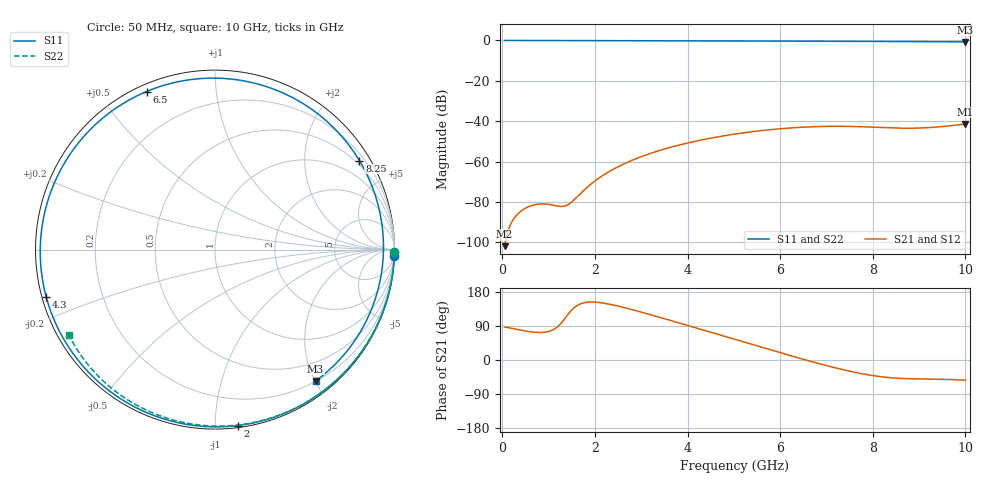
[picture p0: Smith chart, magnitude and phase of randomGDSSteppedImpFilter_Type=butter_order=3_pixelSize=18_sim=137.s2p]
! freq	dB(S11)	phase(S11)	dB(S12)	phase(S12)
!  dB(S21)	phase(S21)	dB(S22)	phase(S22)
!S-par simulation data
#  GHz  S  DB  R 50
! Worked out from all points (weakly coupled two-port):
!   200 points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, 50 MHz to 10 GHz, reference 50 ohm
!   highest |S21| = -41.42 dB at 10 GHz (marker M1); lowest = -102.0 dB at 50 MHz (marker M2)
!   lowest |S11| = -0.7 dB at 10 GHz (marker M3), VSWR 24.66, Z = 10.3 - j100 ohm
!   |S11| at or under -10 dB: nowhere
!   |S22| runs from -0.5 to 0.0 dB; largest |S21 - S12| = 0
!   S11 on the Smith chart (normalised r, x): 50 MHz: 1, -52; 2 GHz: 0.01, -1.14; 4.3 GHz: 0.01, -0.14; 6.5 GHz: 0.03, +0.66; 8.25 GHz: 0.37, +3.49; 10 GHz: 0.21, -2.01
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0.05  -0.01 -2.2  -101.95 86.8  -101.95 86.8  -0.00 -0.9
0.7  -0.03 -30.1  -81.43 73.3  -81.43 73.3  -0.01 -12.1
1.1  -0.06 -46.8  -81.64 79.9  -81.64 79.9  -0.02 -19.0
1.5  -0.08 -63.0  -80.03 132.1  -80.03 132.1  -0.03 -25.8
1.75  -0.09 -72.8  -74.52 150.6  -74.52 150.6  -0.04 -30.0
2  -0.10 -82.5  -69.66 152.7  -69.66 152.7  -0.04 -34.1
2.65  -0.13 -106.7  -60.92 137.8  -60.92 137.8  -0.06 -44.8
3.4  -0.16 -133.2  -54.50 112.6  -54.50 112.6  -0.08 -56.9
4.3  -0.20 -164.2  -49.32 80.4  -49.32 80.4  -0.10 -70.8
5.05  -0.25 169.5  -46.30 53.3  -46.30 53.3  -0.13 -82.0
5.75  -0.30 143.6  -44.30 28.2  -44.30 28.2  -0.16 -92.2
6.5  -0.36 113.4  -42.98 1.9  -42.98 1.9  -0.19 -102.7
6.7  -0.37 104.9  -42.77 -4.9  -42.77 -4.9  -0.21 -105.5
7.1  -0.40 87.0  -42.55 -17.8  -42.55 -17.8  -0.23 -111.0
7.45  -0.43 70.8  -42.58 -28.2  -42.58 -28.2  -0.26 -115.7
7.85  -0.46 51.4  -42.84 -38.1  -42.84 -38.1  -0.29 -121.1
8.25  -0.49 31.7  -43.22 -45.1  -43.22 -45.1  -0.32 -126.5
8.35  -0.50 26.7  -43.31 -46.3  -43.31 -46.3  -0.33 -127.8
8.75  -0.54 6.8  -43.51 -49.3  -43.51 -49.3  -0.37 -133.1
9.1  -0.57 -10.4  -43.32 -50.1  -43.32 -50.1  -0.40 -137.8
9.5  -0.63 -29.6  -42.67 -50.9  -42.67 -50.9  -0.45 -143.1
10  -0.70 -52.6  -41.42 -53.4  -41.42 -53.4  -0.51 -149.7
